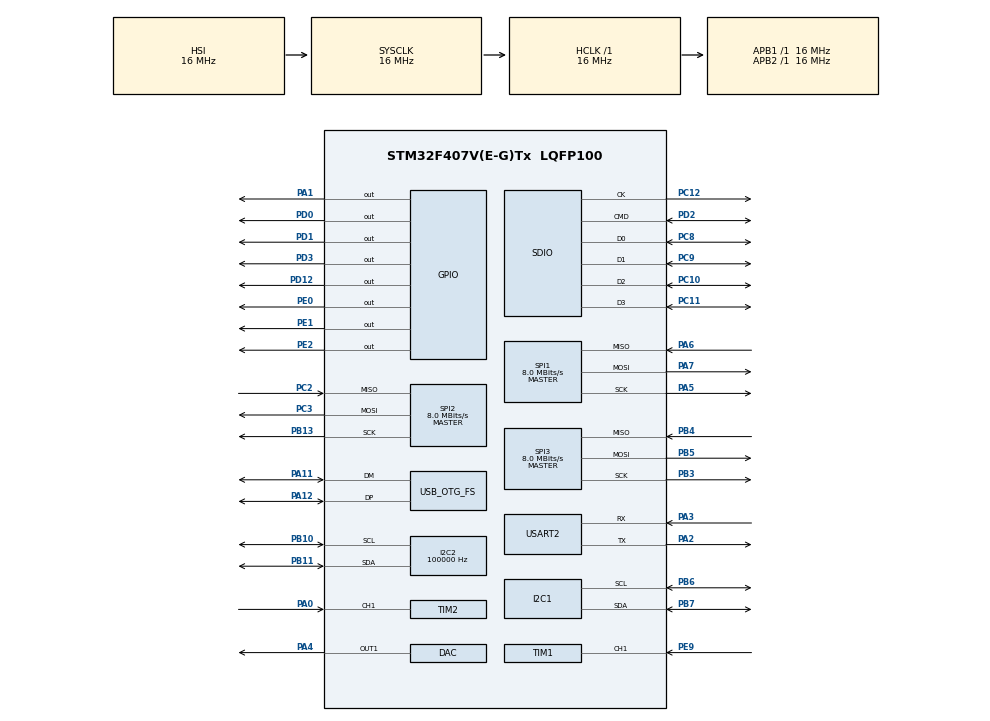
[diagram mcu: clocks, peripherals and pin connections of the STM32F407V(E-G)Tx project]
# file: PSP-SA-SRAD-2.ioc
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Dma.Request0=SDIO
Dma.SDIO.0.Direction=DMA_PERIPH_TO_MEMORY
Dma.SDIO.0.FIFOMode=DMA_FIFOMODE_ENABLE
Dma.SDIO.0.FIFOThreshold=DMA_FIFO_THRESHOLD_FULL
Dma.SDIO.0.Instance=DMA2_Stream6
Dma.SDIO.0.MemBurst=DMA_MBURST_INC4
Dma.SDIO.0.MemDataAlignment=DMA_MDATAALIGN_WORD
Dma.SDIO.0.MemInc=DMA_MINC_ENABLE
Dma.SDIO.0.Mode=DMA_PFCTRL
Dma.SDIO.0.PeriphBurst=DMA_PBURST_INC4
Dma.SDIO.0.PeriphDataAlignment=DMA_PDATAALIGN_WORD
Dma.SDIO.0.PeriphInc=DMA_PINC_DISABLE
Dma.SDIO.0.Priority=DMA_PRIORITY_LOW
FATFS.USE_DMA_CODE_SD=1
FATFS._FS_LOCK=4
I2C2.ClockSpeed=100000
I2C2.NoStretchMode=I2C_NOSTRETCH_ENABLE
Mcu.Family=STM32F4
Mcu.Name=STM32F407V(E-G)Tx
Mcu.Package=LQFP100
NVIC.DMA2_Stream6_IRQn=true\:0\:0\:false\:false\:true\:false\:true\:true
NVIC.I2C2_ER_IRQn=true\:0\:0\:false\:false\:true\:true\:true\:true
NVIC.I2C2_EV_IRQn=true\:0\:0\:false\:false\:true\:true\:true\:true
NVIC.OTG_FS_IRQn=true\:0\:0\:false\:false\:true\:false\:true\:true
NVIC.PriorityGroup=NVIC_PRIORITYGROUP_4
NVIC.SDIO_IRQn=true\:0\:0\:false\:false\:true\:true\:true\:true
PA0-WKUP.Signal=S_TIM2_CH1_ETR
PA1.GPIO_PuPd=GPIO_PULLUP
PA1.Signal=GPIO_Output
PA11.Mode=Device_Only
PA11.Signal=USB_OTG_FS_DM
PA12.Mode=Device_Only
PA12.Signal=USB_OTG_FS_DP
PA2.Mode=Asynchronous
PA2.Signal=USART2_TX
PA3.Mode=Asynchronous
PA3.Signal=USART2_RX
PA4.Signal=COMP_DAC1_group
PA5.Mode=Full_Duplex_Master
PA5.Signal=SPI1_SCK
PA6.Mode=Full_Duplex_Master
PA6.Signal=SPI1_MISO
PA7.Mode=Full_Duplex_Master
PA7.Signal=SPI1_MOSI
PB10.GPIO_Pu=GPIO_PULLUP
PB10.Mode=I2C
PB10.Signal=I2C2_SCL
PB11.GPIO_Pu=GPIO_PULLUP
PB11.Mode=I2C
PB11.Signal=I2C2_SDA
PB13.Mode=Full_Duplex_Master
PB13.Signal=SPI2_SCK
PB3.Mode=Full_Duplex_Master
PB3.Signal=SPI3_SCK
PB4.Mode=Full_Duplex_Master
PB4.Signal=SPI3_MISO
PB5.Mode=Full_Duplex_Master
PB5.Signal=SPI3_MOSI
PB6.Mode=I2C
PB6.Signal=I2C1_SCL
PB7.Mode=I2C
PB7.Signal=I2C1_SDA
PC10.GPIO_PuPd=GPIO_PULLUP
PC10.Mode=SD_4_bits_Wide_bus
PC10.Signal=SDIO_D2
PC11.GPIO_PuPd=GPIO_PULLUP
PC11.Mode=SD_4_bits_Wide_bus
PC11.Signal=SDIO_D3
PC12.GPIO_PuPd=GPIO_PULLUP
PC12.Mode=SD_4_bits_Wide_bus
PC12.Signal=SDIO_CK
PC2.Mode=Full_Duplex_Master
PC2.Signal=SPI2_MISO
PC3.Mode=Full_Duplex_Master
PC3.Signal=SPI2_MOSI
PC8.GPIO_PuPd=GPIO_PULLUP
PC8.Mode=SD_4_bits_Wide_bus
PC8.Signal=SDIO_D0
PC9.GPIO_PuPd=GPIO_PULLUP
PC9.Mode=SD_4_bits_Wide_bus
PC9.Signal=SDIO_D1
PD0.GPIO_PuPd=GPIO_PULLUP
PD0.Signal=GPIO_Output
PD1.GPIO_PuPd=GPIO_PULLUP
PD1.Signal=GPIO_Output
PD12.Signal=GPIO_Output
PD2.GPIO_PuPd=GPIO_PULLUP
PD2.Mode=SD_4_bits_Wide_bus
PD2.Signal=SDIO_CMD
PD3.GPIO_PuPd=GPIO_PULLUP
PD3.Signal=GPIO_Output
PE0.GPIO_PuPd=GPIO_PULLUP
PE0.Signal=GPIO_Output
PE1.Signal=GPIO_Output
PE2.Signal=GPIO_Output
PE9.Signal=S_TIM1_CH1
ProjectManager.HeapSize=0x200
ProjectManager.StackSize=0x400
ProjectManager.TargetToolchain=STM32CubeIDE
RCC.AHBFreq_Value=16000000
RCC.APB1Freq_Value=16000000
RCC.APB1TimFreq_Value=16000000
RCC.APB2Freq_Value=16000000
RCC.APB2TimFreq_Value=16000000
RCC.CortexFreq_Value=16000000
RCC.HCLKFreq_Value=16000000
RCC.HSE_VALUE=25000000
RCC.HSI_VALUE=16000000
RCC.LSE_VALUE=32768
RCC.PLLSource=RCC_PLLSOURCE_HSI
RCC.SYSCLKFreq_VALUE=16000000
RCC.VCOOutputFreq_Value=192000000
SDIO.ClockDiv=4
SH.COMP_DAC1_group.0=DAC_OUT1,DAC_OUT1
SH.S_TIM1_CH1.0=TIM1_CH1,Input_Capture1_from_TI1
SH.S_TIM2_CH1_ETR.0=TIM2_CH1,Input_Capture1_from_TI1
SPI1.BaudRatePrescaler=SPI_BAUDRATEPRESCALER_2
SPI1.CalculateBaudRate=8.0 MBits/s
SPI1.Direction=SPI_DIRECTION_2LINES
SPI1.Mode=SPI_MODE_MASTER
SPI1.VirtualType=VM_MASTER
SPI2.BaudRatePrescaler=SPI_BAUDRATEPRESCALER_2
SPI2.CalculateBaudRate=8.0 MBits/s
SPI2.Direction=SPI_DIRECTION_2LINES
SPI2.Mode=SPI_MODE_MASTER
SPI2.VirtualType=VM_MASTER
SPI3.BaudRatePrescaler=SPI_BAUDRATEPRESCALER_2
SPI3.CalculateBaudRate=8.0 MBits/s
SPI3.Direction=SPI_DIRECTION_2LINES
SPI3.Mode=SPI_MODE_MASTER
SPI3.VirtualType=VM_MASTER
TIM1.Channel-Input_Capture1_from_TI1=TIM_CHANNEL_1
TIM2.Channel-Input_Capture1_from_TI1=TIM_CHANNEL_1
TIM2.Prescaler=16
USART2.VirtualMode=VM_ASYNC
USB_DEVICE.CLASS_NAME_FS=CDC
USB_DEVICE.VirtualMode-CDC_FS=Cdc
USB_DEVICE.VirtualModeFS=Cdc_FS
USB_OTG_FS.VirtualMode=Device_Only
VP_FATFS_VS_SDIO.Mode=SDIO
VP_USB_DEVICE_VS_USB_DEVICE_CDC_FS.Mode=CDC_FS
board=custom

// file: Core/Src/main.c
/* USER CODE BEGIN Header */
/**
  ******************************************************************************
  * @file           : main.c
  * @brief          : Main program body
  ******************************************************************************
  * @attention
  *
  * Copyright (c) 2022 STMicroelectronics.
  * All rights reserved.
  *
  * This software is licensed under terms that can be found in the LICENSE file
  * in the root directory of this software component.
  * If no LICENSE file comes with this software, it is provided AS-IS.
  *
  ******************************************************************************
  */

/**
 * File also contains code from Alexander Bowman and other people as a part of
 * PSP-SA
 */
/* USER CODE END Header */
#include "main.h"
#include "fatfs.h"
#include "usb_device.h"

/* USER CODE BEGIN Includes */

#include <stdio.h>
#include <assert.h>
#include <string.h>
#include <stdlib.h>
#include <stdarg.h>
#include <stdbool.h>
#include <math.h>
#include "altimeter.h"
#include "lib/bme280.h"
#include "smintf.h"
#include "accelerometer.h"
#include "flight.h"
#include "active_controls.h"
#include "audio.h"
#include "ff.h"
#include "fs_storage.h"
#include "radio/telemetry.h"
#include "tracking.h"
#include "test/File_Handling.h"
/* USER CODE END Includes */

 DAC_HandleTypeDef hdac;

I2C_HandleTypeDef hi2c1;
I2C_HandleTypeDef hi2c2;

SD_HandleTypeDef hsd;
DMA_HandleTypeDef hdma_sdio;

SPI_HandleTypeDef hspi1;
SPI_HandleTypeDef hspi2;
SPI_HandleTypeDef hspi3;

TIM_HandleTypeDef htim1;
TIM_HandleTypeDef htim2;

UART_HandleTypeDef huart2;

/* USER CODE BEGIN PV */

static system_data* data;
 uint8_t Rx_indx, Rx_data[2], Rx_Buffer[100], Transfer_cplt;
double value = 1.0;
char msg[20] = "";

/* USER CODE END PV */

void SystemClock_Config(void);
static void MX_GPIO_Init(void);
static void MX_DAC_Init(void);
static void MX_SDIO_SD_Init(void);
static void MX_SPI1_Init(void);
static void MX_SPI2_Init(void);
static void MX_SPI3_Init(void);
static void MX_TIM1_Init(void);
static void MX_TIM2_Init(void);
static void MX_I2C1_Init(void);
static void MX_DMA_Init(void);
static void MX_USART2_UART_Init(void);
static void MX_I2C2_Init(void);
/* USER CODE BEGIN PFP */

//void HAL_USART_RxCpltCallback(UART_HandleTypeDef *huart);

static void main_heartbeat(system_data* sys_data);

void led_blink(uint8_t count);
void led_blink_delay(uint8_t count, uint16_t delay);
void led_blink_error(uint8_t count);
static void run_heartbeats();

/* USER CODE END PFP */

/* USER CODE BEGIN 0 */

heartbeat_entry main_entry = {
		  .function = main_heartbeat,
		  .interval = 250, // make this faster for the actual launch
		  .next = null,
		  .name = "main"
 };

/* USER CODE END 0 */

int main(void)
{
  /* USER CODE BEGIN 1 */

  data = (system_data*) calloc(1, sizeof(system_data));

  data->main_entry = &main_entry;

  /* USER CODE END 1 */

  /* MCU Configuration--------------------------------------------------------*/

  /* Reset of all peripherals, Initializes the Flash interface and the Systick. */
  HAL_Init();

  /* Configure the system clock */
  SystemClock_Config();

  /* USER CODE BEGIN SysInit */
//  HAL_Delay(1000); // give time for SD reader to load firmware or something - otherwise reset button has to be pressed
  /* USER CODE END SysInit */

  /* Initialize all configured peripherals */
  MX_GPIO_Init();
  MX_DAC_Init();
  MX_SDIO_SD_Init();
  MX_SPI1_Init();
  MX_SPI2_Init();
  MX_SPI3_Init();
  MX_TIM1_Init();
  MX_TIM2_Init();
  MX_FATFS_Init();
  MX_USB_DEVICE_Init();
  MX_I2C1_Init();
  MX_DMA_Init();
  MX_USART2_UART_Init();
  MX_I2C2_Init();
  /* USER CODE BEGIN 2 */

  led_blink(3);

  log_message("initializing flight computer");

  HAL_GPIO_WritePin(GPIOA, GPIO_PIN_8, GPIO_PIN_SET); // sets the Vcc for the IO interface on the THP sensor to high
  HAL_GPIO_WritePin(GPIOE, PIN_THP_CHIP_SELECT, GPIO_PIN_SET); // pin needs to be high initially for BME280
  HAL_GPIO_WritePin(GPIOA, GPIO_PIN_10, GPIO_PIN_RESET); // audio port off by default

  HAL_TIM_Base_Start(&htim1); // make sure we do this before starting audio
  HAL_TIM_Base_Start(&htim2);

  init_audio(data); // initialize early so we can hear a beep early too

  uint32_t timeMS = HAL_GetTick();
  delay_us(1500000);
  timeMS = HAL_GetTick() - timeMS;
  log_message("initializing storage");
  log_message("initializing storage");
  log_message("initializing storage");
  log_message("initializing storage");
  log_message("initializing storage");
  log_message("initializing storage");
  log_message("initializing storage");
  log_message("initializing storage");
  log_messagef("1500ms in delay_us is really %d ms", timeMS);

  // TODO : delete the code below until init storage after M-SD card works
//  Mount_SD("/");
//  Create_File("test.txt");
//  Write_File("test.txt","Hello, World!");
//  Unmount_SD("/");

  // initialize SD card file system
  init_storage(data);

  // initialize different "modules"

  log_message("initializing modules");

  init_altimeter(data);
  init_accelerometer(data);
  init_flight(data);
  init_telemetry(data);
  init_active_controls(data);
  init_tracking(data);
  init_prometheus(data);

  log_message("initialized modules");

  log_message(FILE_HEADER); // defined in fs_storage.h

//	led_blink(5);

  morse_code("OK");

  /* USER CODE END 2 */

  /* Infinite loop */
  while (1)
  {

    /* USER CODE BEGIN 3 */
	  run_heartbeats();

  }
  /* USER CODE END 3 */
}

void SystemClock_Config(void)
{
  RCC_OscInitTypeDef RCC_OscInitStruct = {0};
  RCC_ClkInitTypeDef RCC_ClkInitStruct = {0};

  /** Configure the main internal regulator output voltage
  */
  __HAL_RCC_PWR_CLK_ENABLE();
  __HAL_PWR_VOLTAGESCALING_CONFIG(PWR_REGULATOR_VOLTAGE_SCALE1);

  /** Initializes the RCC Oscillators according to the specified parameters
  * in the RCC_OscInitTypeDef structure.
  */
  RCC_OscInitStruct.OscillatorType = RCC_OSCILLATORTYPE_HSI;
  RCC_OscInitStruct.HSIState = RCC_HSI_ON;
  RCC_OscInitStruct.HSICalibrationValue = RCC_HSICALIBRATION_DEFAULT;
  RCC_OscInitStruct.PLL.PLLState = RCC_PLL_ON;
  RCC_OscInitStruct.PLL.PLLSource = RCC_PLLSOURCE_HSI;
  RCC_OscInitStruct.PLL.PLLM = 16;
  RCC_OscInitStruct.PLL.PLLN = 192;
  RCC_OscInitStruct.PLL.PLLP = RCC_PLLP_DIV2;
  RCC_OscInitStruct.PLL.PLLQ = 4;
  if (HAL_RCC_OscConfig(&RCC_OscInitStruct) != HAL_OK)
  {
    Error_Handler();
  }

  /** Initializes the CPU, AHB and APB buses clocks
  */
  RCC_ClkInitStruct.ClockType = RCC_CLOCKTYPE_HCLK|RCC_CLOCKTYPE_SYSCLK
                              |RCC_CLOCKTYPE_PCLK1|RCC_CLOCKTYPE_PCLK2;
  RCC_ClkInitStruct.SYSCLKSource = RCC_SYSCLKSOURCE_HSI;
  RCC_ClkInitStruct.AHBCLKDivider = RCC_SYSCLK_DIV1;
  RCC_ClkInitStruct.APB1CLKDivider = RCC_HCLK_DIV1;
  RCC_ClkInitStruct.APB2CLKDivider = RCC_HCLK_DIV1;

  if (HAL_RCC_ClockConfig(&RCC_ClkInitStruct, FLASH_LATENCY_0) != HAL_OK)
  {
    Error_Handler();
  }
}

static void MX_DAC_Init(void)
{

  DAC_ChannelConfTypeDef sConfig = {0};

  /** DAC Initialization
  */
  hdac.Instance = DAC;
  if (HAL_DAC_Init(&hdac) != HAL_OK)
  {
    Error_Handler();
  }

  /** DAC channel OUT1 config
  */
  sConfig.DAC_Trigger = DAC_TRIGGER_NONE;
  sConfig.DAC_OutputBuffer = DAC_OUTPUTBUFFER_ENABLE;
  if (HAL_DAC_ConfigChannel(&hdac, &sConfig, DAC_CHANNEL_1) != HAL_OK)
  {
    Error_Handler();
  }

}

static void MX_I2C1_Init(void)
{

  hi2c1.Instance = I2C1;
  hi2c1.Init.ClockSpeed = 100000;
  hi2c1.Init.DutyCycle = I2C_DUTYCYCLE_2;
  hi2c1.Init.OwnAddress1 = 0;
  hi2c1.Init.AddressingMode = I2C_ADDRESSINGMODE_7BIT;
  hi2c1.Init.DualAddressMode = I2C_DUALADDRESS_DISABLE;
  hi2c1.Init.OwnAddress2 = 0;
  hi2c1.Init.GeneralCallMode = I2C_GENERALCALL_DISABLE;
  hi2c1.Init.NoStretchMode = I2C_NOSTRETCH_DISABLE;
  if (HAL_I2C_Init(&hi2c1) != HAL_OK)
  {
    Error_Handler();
  }

}

static void MX_I2C2_Init(void)
{

  hi2c2.Instance = I2C2;
  hi2c2.Init.ClockSpeed = 100000;
  hi2c2.Init.DutyCycle = I2C_DUTYCYCLE_2;
  hi2c2.Init.OwnAddress1 = 0;
  hi2c2.Init.AddressingMode = I2C_ADDRESSINGMODE_7BIT;
  hi2c2.Init.DualAddressMode = I2C_DUALADDRESS_DISABLE;
  hi2c2.Init.OwnAddress2 = 0;
  hi2c2.Init.GeneralCallMode = I2C_GENERALCALL_DISABLE;
  hi2c2.Init.NoStretchMode = I2C_NOSTRETCH_ENABLE;
  if (HAL_I2C_Init(&hi2c2) != HAL_OK)
  {
    Error_Handler();
  }

}

static void MX_SDIO_SD_Init(void)
{

  hsd.Instance = SDIO;
  hsd.Init.ClockEdge = SDIO_CLOCK_EDGE_RISING;
  hsd.Init.ClockBypass = SDIO_CLOCK_BYPASS_DISABLE;
  hsd.Init.ClockPowerSave = SDIO_CLOCK_POWER_SAVE_DISABLE;
  hsd.Init.BusWide = SDIO_BUS_WIDE_1B;
  hsd.Init.HardwareFlowControl = SDIO_HARDWARE_FLOW_CONTROL_DISABLE;
  hsd.Init.ClockDiv = 4;

}

static void MX_SPI1_Init(void)
{

  /* SPI1 parameter configuration*/
  hspi1.Instance = SPI1;
  hspi1.Init.Mode = SPI_MODE_MASTER;
  hspi1.Init.Direction = SPI_DIRECTION_2LINES;
  hspi1.Init.DataSize = SPI_DATASIZE_8BIT;
  hspi1.Init.CLKPolarity = SPI_POLARITY_LOW;
  hspi1.Init.CLKPhase = SPI_PHASE_1EDGE;
  hspi1.Init.NSS = SPI_NSS_SOFT;
  hspi1.Init.BaudRatePrescaler = SPI_BAUDRATEPRESCALER_2;
  hspi1.Init.FirstBit = SPI_FIRSTBIT_MSB;
  hspi1.Init.TIMode = SPI_TIMODE_DISABLE;
  hspi1.Init.CRCCalculation = SPI_CRCCALCULATION_DISABLE;
  hspi1.Init.CRCPolynomial = 10;
  if (HAL_SPI_Init(&hspi1) != HAL_OK)
  {
    Error_Handler();
  }

}

static void MX_SPI2_Init(void)
{

  /* SPI2 parameter configuration*/
  hspi2.Instance = SPI2;
  hspi2.Init.Mode = SPI_MODE_MASTER;
  hspi2.Init.Direction = SPI_DIRECTION_2LINES;
  hspi2.Init.DataSize = SPI_DATASIZE_8BIT;
  hspi2.Init.CLKPolarity = SPI_POLARITY_LOW;
  hspi2.Init.CLKPhase = SPI_PHASE_1EDGE;
  hspi2.Init.NSS = SPI_NSS_SOFT;
  hspi2.Init.BaudRatePrescaler = SPI_BAUDRATEPRESCALER_2;
  hspi2.Init.FirstBit = SPI_FIRSTBIT_MSB;
  hspi2.Init.TIMode = SPI_TIMODE_DISABLE;
  hspi2.Init.CRCCalculation = SPI_CRCCALCULATION_DISABLE;
  hspi2.Init.CRCPolynomial = 10;
  if (HAL_SPI_Init(&hspi2) != HAL_OK)
  {
    Error_Handler();
  }

}

static void MX_SPI3_Init(void)
{

  /* SPI3 parameter configuration*/
  hspi3.Instance = SPI3;
  hspi3.Init.Mode = SPI_MODE_MASTER;
  hspi3.Init.Direction = SPI_DIRECTION_2LINES;
  hspi3.Init.DataSize = SPI_DATASIZE_8BIT;
  hspi3.Init.CLKPolarity = SPI_POLARITY_LOW;
  hspi3.Init.CLKPhase = SPI_PHASE_1EDGE;
  hspi3.Init.NSS = SPI_NSS_SOFT;
  hspi3.Init.BaudRatePrescaler = SPI_BAUDRATEPRESCALER_2;
  hspi3.Init.FirstBit = SPI_FIRSTBIT_MSB;
  hspi3.Init.TIMode = SPI_TIMODE_DISABLE;
  hspi3.Init.CRCCalculation = SPI_CRCCALCULATION_DISABLE;
  hspi3.Init.CRCPolynomial = 10;
  if (HAL_SPI_Init(&hspi3) != HAL_OK)
  {
    Error_Handler();
  }

}

static void MX_TIM1_Init(void)
{

  TIM_MasterConfigTypeDef sMasterConfig = {0};
  TIM_IC_InitTypeDef sConfigIC = {0};

  htim1.Instance = TIM1;
  htim1.Init.Prescaler = 0;
  htim1.Init.CounterMode = TIM_COUNTERMODE_UP;
  htim1.Init.Period = 65535;
  htim1.Init.ClockDivision = TIM_CLOCKDIVISION_DIV1;
  htim1.Init.RepetitionCounter = 0;
  htim1.Init.AutoReloadPreload = TIM_AUTORELOAD_PRELOAD_DISABLE;
  if (HAL_TIM_IC_Init(&htim1) != HAL_OK)
  {
    Error_Handler();
  }
  sMasterConfig.MasterOutputTrigger = TIM_TRGO_RESET;
  sMasterConfig.MasterSlaveMode = TIM_MASTERSLAVEMODE_DISABLE;
  if (HAL_TIMEx_MasterConfigSynchronization(&htim1, &sMasterConfig) != HAL_OK)
  {
    Error_Handler();
  }
  sConfigIC.ICPolarity = TIM_INPUTCHANNELPOLARITY_RISING;
  sConfigIC.ICSelection = TIM_ICSELECTION_DIRECTTI;
  sConfigIC.ICPrescaler = TIM_ICPSC_DIV1;
  sConfigIC.ICFilter = 0;
  if (HAL_TIM_IC_ConfigChannel(&htim1, &sConfigIC, TIM_CHANNEL_1) != HAL_OK)
  {
    Error_Handler();
  }

}

static void MX_TIM2_Init(void)
{

  TIM_MasterConfigTypeDef sMasterConfig = {0};
  TIM_IC_InitTypeDef sConfigIC = {0};

  htim2.Instance = TIM2;
  htim2.Init.Prescaler = 16;
  htim2.Init.CounterMode = TIM_COUNTERMODE_UP;
  htim2.Init.Period = 4294967295;
  htim2.Init.ClockDivision = TIM_CLOCKDIVISION_DIV1;
  htim2.Init.AutoReloadPreload = TIM_AUTORELOAD_PRELOAD_DISABLE;
  if (HAL_TIM_IC_Init(&htim2) != HAL_OK)
  {
    Error_Handler();
  }
  sMasterConfig.MasterOutputTrigger = TIM_TRGO_RESET;
  sMasterConfig.MasterSlaveMode = TIM_MASTERSLAVEMODE_DISABLE;
  if (HAL_TIMEx_MasterConfigSynchronization(&htim2, &sMasterConfig) != HAL_OK)
  {
    Error_Handler();
  }
  sConfigIC.ICPolarity = TIM_INPUTCHANNELPOLARITY_RISING;
  sConfigIC.ICSelection = TIM_ICSELECTION_DIRECTTI;
  sConfigIC.ICPrescaler = TIM_ICPSC_DIV1;
  sConfigIC.ICFilter = 0;
  if (HAL_TIM_IC_ConfigChannel(&htim2, &sConfigIC, TIM_CHANNEL_1) != HAL_OK)
  {
    Error_Handler();
  }

}

static void MX_USART2_UART_Init(void)
{

  huart2.Instance = USART2;
  huart2.Init.BaudRate = 115200;
  huart2.Init.WordLength = UART_WORDLENGTH_8B;
  huart2.Init.StopBits = UART_STOPBITS_1;
  huart2.Init.Parity = UART_PARITY_NONE;
  huart2.Init.Mode = UART_MODE_TX_RX;
  huart2.Init.HwFlowCtl = UART_HWCONTROL_NONE;
  huart2.Init.OverSampling = UART_OVERSAMPLING_16;
  if (HAL_UART_Init(&huart2) != HAL_OK)
  {
    Error_Handler();
  }

}

static void MX_DMA_Init(void)
{

  /* DMA controller clock enable */
  __HAL_RCC_DMA2_CLK_ENABLE();

  /* DMA interrupt init */
  /* DMA2_Stream6_IRQn interrupt configuration */
  HAL_NVIC_SetPriority(DMA2_Stream6_IRQn, 0, 0);
  HAL_NVIC_EnableIRQ(DMA2_Stream6_IRQn);

}

static void MX_GPIO_Init(void)
{
  GPIO_InitTypeDef GPIO_InitStruct = {0};

  /* GPIO Ports Clock Enable */
  __HAL_RCC_GPIOE_CLK_ENABLE();
  __HAL_RCC_GPIOC_CLK_ENABLE();
  __HAL_RCC_GPIOA_CLK_ENABLE();
  __HAL_RCC_GPIOB_CLK_ENABLE();
  __HAL_RCC_GPIOD_CLK_ENABLE();

  /*Configure GPIO pin Output Level */
  HAL_GPIO_WritePin(GPIOE, GPIO_PIN_2|GPIO_PIN_0|GPIO_PIN_1, GPIO_PIN_RESET);

  /*Configure GPIO pin Output Level */
  HAL_GPIO_WritePin(GPIOA, GPIO_PIN_1, GPIO_PIN_RESET);

  /*Configure GPIO pin Output Level */
  HAL_GPIO_WritePin(GPIOD, GPIO_PIN_12|GPIO_PIN_0|GPIO_PIN_1|GPIO_PIN_3, GPIO_PIN_RESET);

  /*Configure GPIO pins : PE2 PE1 */
  GPIO_InitStruct.Pin = GPIO_PIN_2|GPIO_PIN_1;
  GPIO_InitStruct.Mode = GPIO_MODE_OUTPUT_PP;
  GPIO_InitStruct.Pull = GPIO_NOPULL;
  GPIO_InitStruct.Speed = GPIO_SPEED_FREQ_LOW;
  HAL_GPIO_Init(GPIOE, &GPIO_InitStruct);

  /*Configure GPIO pin : PA1 */
  GPIO_InitStruct.Pin = GPIO_PIN_1;
  GPIO_InitStruct.Mode = GPIO_MODE_OUTPUT_PP;
  GPIO_InitStruct.Pull = GPIO_PULLUP;
  GPIO_InitStruct.Speed = GPIO_SPEED_FREQ_LOW;
  HAL_GPIO_Init(GPIOA, &GPIO_InitStruct);

  /*Configure GPIO pin : PD12 */
  GPIO_InitStruct.Pin = GPIO_PIN_12;
  GPIO_InitStruct.Mode = GPIO_MODE_OUTPUT_PP;
  GPIO_InitStruct.Pull = GPIO_NOPULL;
  GPIO_InitStruct.Speed = GPIO_SPEED_FREQ_LOW;
  HAL_GPIO_Init(GPIOD, &GPIO_InitStruct);

  /*Configure GPIO pins : PD0 PD1 PD3 */
  GPIO_InitStruct.Pin = GPIO_PIN_0|GPIO_PIN_1|GPIO_PIN_3;
  GPIO_InitStruct.Mode = GPIO_MODE_OUTPUT_PP;
  GPIO_InitStruct.Pull = GPIO_PULLUP;
  GPIO_InitStruct.Speed = GPIO_SPEED_FREQ_LOW;
  HAL_GPIO_Init(GPIOD, &GPIO_InitStruct);

  /*Configure GPIO pin : PE0 */
  GPIO_InitStruct.Pin = GPIO_PIN_0;
  GPIO_InitStruct.Mode = GPIO_MODE_OUTPUT_PP;
  GPIO_InitStruct.Pull = GPIO_PULLUP;
  GPIO_InitStruct.Speed = GPIO_SPEED_FREQ_LOW;
  HAL_GPIO_Init(GPIOE, &GPIO_InitStruct);

}

/* USER CODE BEGIN 4 */

uint32_t currentTime, timePassed, time;

static void run_heartbeats() {
	currentTime = HAL_GetTick();
	timePassed = currentTime - time;
	time = currentTime;

	heartbeat_entry* current_entry = &main_entry;
	while (current_entry != null) {
		current_entry->timeUntilNext -= timePassed;

		if (current_entry->timeUntilNext <= 0) {
			if (current_entry->interval == 0) current_entry->interval = 100;
			while (current_entry->timeUntilNext <= 0) current_entry->timeUntilNext += current_entry->interval;

			uint32_t timeNow = HAL_GetTick();

			current_entry->function(data);

			if (HAL_GetTick() - timeNow > 5) {
				log_messagef("Heartbeat func %s took %dms", current_entry->name, (HAL_GetTick() - timeNow));
			}

		}

		current_entry = current_entry->next;
	}
}

HAL_SPI_RxCpltCallback(SPI_HandleTypeDef *hspi) {
	if (hspi == &hspi2) { // telemetry spi
		telemetry_RxCplt(&hspi2);
	}
}

static struct bme280_data THP_data_buffer;
static double alt_ft;

void main_heartbeat(system_data* sys_data) {
	FRESULT f_status;

	flight_data_t flightData = flight_data();

	uint32_t time = HAL_GetTick();
	alt_ft = get_altitude_feet();

	vec3f rot;
	accel_gyro(&rot);

	// TODO : smintf takes like 7ms, and sprintf takes 22ms, so we NEED to make an optimized smintf function

//	log_messagef("%f %f %f", (double) get_last_pressure_data(), (double) get_last_temperature_data(), (double) alt_ft);

	char* string = smintf_fast_v1("%d,%f,%f,%f,,,%f,%f,%f,%d,%f,%f,%f,%f,%f", 2048,
			time,
			(double) get_last_pressure_data(), //THP_data_buffer.pressure,
			(double) get_last_temperature_data(), //THP_data_buffer.temperature,
			(double) 0.0,//THP_data_buffer.humidity,
			(double) (alt_ft*0.3048),
			(double) alt_ft,
			(double) flightData.approxVelocity,
			(double) flightData.state,
			tracking_currentLat(),
			tracking_currentLong(),
			rot.x,
			rot.y,
			rot.z
	);

	if (sys_data->fileOpen) {
//		f_status = f_printf(sys_data->file, string);
//		f_printf(sys_data->file, "\n");
//		f_sync(sys_data->file);

		storage_log(sys_data, string);
	}

//	telemetry_send(string);
//	telemetry_send(",W9FTX\n");

	log_message(string);

	free(string);

	HAL_GPIO_TogglePin(GPIOA, GPIO_PIN_1);

}

void log_message(const char* message) {
#ifdef DEBUG // see log_messagef
	char* msg = smintf("[%d] %s\n\r", HAL_GetTick(), message);
//	HAL_UART_Transmit(&huart2, (uint8_t*) msg, strlen(msg), 100);
	CDC_Transmit_FS((uint8_t*) msg, strlen(msg));
	free(msg);
#endif
}

void log_messagef(const char* message, ...) {
#ifdef DEBUG // don't waste time on this if not debug mode (so a real launch)
	va_list args;
	va_start(args, message);
	va_list args2;
	va_start(args2, message);

	char* message2 = smintf_list(message, args, args2);
	log_message(message2);
	free(message2);
	va_end(args);
	va_end(args2);
#endif
}

void register_heartbeat_func(heartbeat_entry* entry) {
	assert(entry->name != null);
	assert(entry->name[0] != '\0');

	entry->name = strdup(entry->name); // make sure the memory won't be free'd/released

	heartbeat_entry* curr = data->main_entry;
	while (curr->next != null) curr = curr->next;
	curr->next = entry;
}

void led_blink(uint8_t count) {
#ifndef USB_ONLY
	for (uint8_t i = 0; i < count; i ++) {
		HAL_GPIO_WritePin(GPIOA, GPIO_PIN_1, GPIO_PIN_SET);
		HAL_Delay(250);
		HAL_GPIO_WritePin(GPIOA, GPIO_PIN_1, GPIO_PIN_RESET);
		HAL_Delay(250);
	  }
#endif
}

void led_blink_delay(uint8_t count, uint16_t delay) {
	for (uint8_t i = 0; i < count; i ++) {
		HAL_GPIO_WritePin(GPIOA, GPIO_PIN_1, GPIO_PIN_SET);
		HAL_Delay(delay);
		HAL_GPIO_WritePin(GPIOA, GPIO_PIN_1, GPIO_PIN_RESET);
		HAL_Delay(delay);
	  }
}

void led_blink_error(uint8_t count) {
	for (uint8_t i = 0; i < count; i ++) {
		HAL_GPIO_WritePin(GPIOA, GPIO_PIN_1, GPIO_PIN_SET);
		HAL_Delay(500);
		HAL_GPIO_WritePin(GPIOA, GPIO_PIN_1, GPIO_PIN_RESET);
		HAL_Delay(500);
	}
}

uint32_t get_time_us() {
	return __HAL_TIM_GET_COUNTER(&htim2);
}

void delay_us(uint64_t delay) {
	while (delay > 65535) {
		delay_us(65535);
		delay -= 65535;
	}
	__HAL_TIM_SET_COUNTER(&htim1, 0);
	while (__HAL_TIM_GET_COUNTER(&htim1) < delay);
	return;
}

float vec3f_len(vec3f vec) {
	return (float) sqrt(vec.x * vec.x + vec.y * vec.y + vec.z * vec.z);
}

/* USER CODE END 4 */

void Error_Handler(void)
{
  /* USER CODE BEGIN Error_Handler_Debug */
  /* User can add his own implementation to report the HAL error return state */
  __disable_irq();
  while (1)
  {
	  HAL_GPIO_TogglePin(GPIOA, GPIO_PIN_1);
	  HAL_Delay(1000);
  }
  /* USER CODE END Error_Handler_Debug */
}
